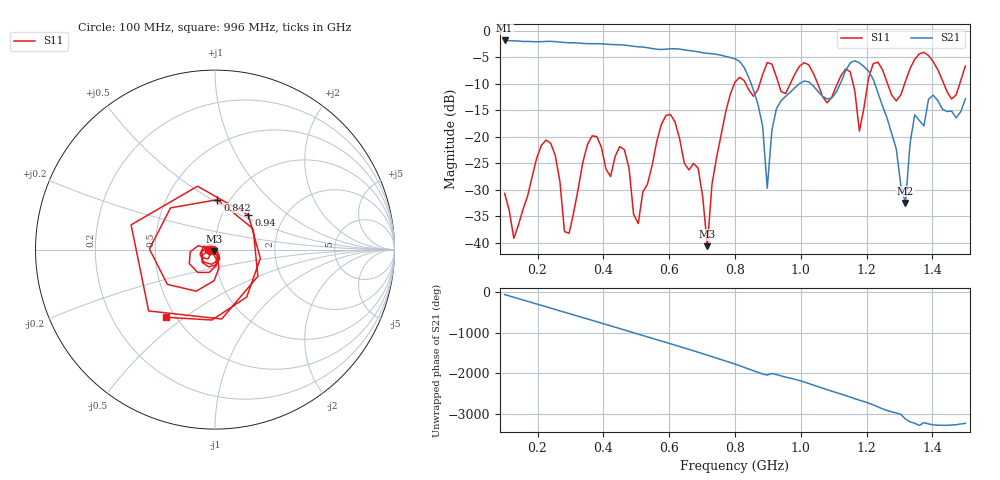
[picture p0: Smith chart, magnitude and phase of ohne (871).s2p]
! NanoVNA-App
! Date: 2025-09-25 14:27:35
! Start: 100MHz Stop: 1,5GHz Points: 101
! S-Parameter data: F S11 S21 S12 S22
# Hz S RI R 50
!  Frequency  S11_Real  S11_Imag  S21_Real  S21_Imag  S12_Real  S12_Imag  S22_Real  S22_Imag
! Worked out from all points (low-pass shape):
!   101 points, 100 MHz to 1.5 GHz, reference 50 ohm
!   highest |S21| = -1.79 dB at 100 MHz (marker M1); lowest = -32.5 dB at 1.318 GHz (marker M2)
!   |S21| within 3 dB of the highest: start of sweep to 771.2 MHz
!   lowest |S11| = -40.6 dB at 716 MHz (marker M3), VSWR 1.02, Z = 49.7 - j0.881 ohm
!   |S11| at or under -10 dB: start of sweep to 797.9 MHz; 833 MHz to 875.1 MHz (42.01 MHz wide, 4.92 % of centre); 1.052 GHz to 1.111 GHz (58.94 MHz wide, 5.45 % of centre) (the widest 3 of 7)
!   S12 and S22 are empty: the file has one direction only
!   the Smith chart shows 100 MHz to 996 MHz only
!   S11 on the Smith chart (normalised r, x): 100 MHz: 0.94, -0.01; 842 MHz: 0.88, +0.53; 940 MHz: 1.33, +0.55; 996 MHz: 0.45, -0.43
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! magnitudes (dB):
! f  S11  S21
! 100 MHz  -30.6  -1.8
! 128 MHz  -39.1  -1.9
! 226 MHz  -20.6  -2.0
! 296 MHz  -38.2  -2.2
! 338 MHz  -24.7  -2.4
! 464 MHz  -22.4  -2.7
! 506 MHz  -36.3  -3.0
! 576 MHz  -17.7  -3.5
! 688 MHz  -25.9  -3.9
! 716 MHz  -40.6  -4.2
! 800 MHz  -9.7  -5.3
! 842 MHz  -11.1  -8.8
! 898 MHz  -6.0  -29.7
! 940 MHz  -11.4  -13.2
! 996 MHz  -6.7  -9.9
! 1.038 GHz  -8.0  -10.4
! 1.178 GHz  -18.9  -6.0
! 1.22 GHz  -6.2  -9.1
! 1.276 GHz  -12.1  -19.3
! 1.318 GHz  -9.5  -32.5
! 1.346 GHz  -5.4  -15.8
! 1.5 GHz  -6.6  -12.8
